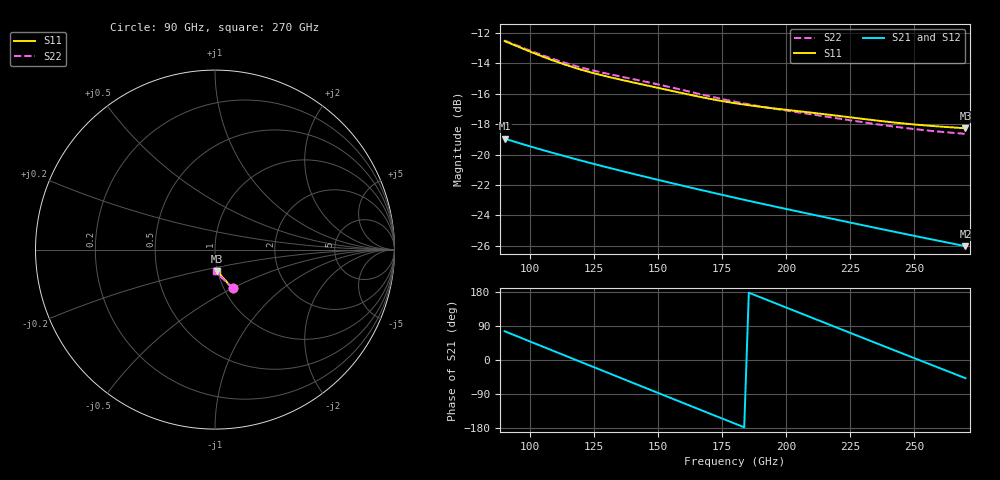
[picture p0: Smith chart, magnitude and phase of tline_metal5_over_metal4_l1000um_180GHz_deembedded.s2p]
! Created with skrf 2.2.0 (http://scikit-rf.org).
# GHz S DB R 50.0
! Port[1] = P1
! Port[2] = P2
!freq dBS11 angS11 dBS21 angS21 dBS12 angS12 dBS22 angS22
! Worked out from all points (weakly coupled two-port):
!   101 points, 90 GHz to 270 GHz, reference 50 ohm
!   highest |S21| = -18.95 dB at 90 GHz (marker M1); lowest = -26.0 dB at 270 GHz (marker M2)
!   lowest |S11| = -18.3 dB at 270 GHz (marker M3), VSWR 1.28, Z = 49.5 - j12.2 ohm
!   |S11| at or under -10 dB: start of sweep to end of sweep
!   |S22| runs from -18.6 to -12.5 dB; largest |S21 - S12| = 8.8e-14
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90  -12.53 -65.1  -18.95 75.9  -18.95 75.9  -12.49 -64.9
99  -13.16 -67.3  -19.42 51.4  -19.42 51.4  -13.10 -67.0
106.2  -13.64 -68.6  -19.77 31.8  -19.77 31.8  -13.55 -68.3
113.4  -14.07 -69.5  -20.10 12.2  -20.10 12.2  -13.96 -69.3
120.6  -14.45 -70.3  -20.43 -7.4  -20.43 -7.4  -14.30 -70.2
127.8  -14.77 -71.0  -20.75 -26.9  -20.75 -26.9  -14.59 -71.1
136.8  -15.13 -72.1  -21.13 -51.3  -21.13 -51.3  -14.92 -72.4
144  -15.39 -73.0  -21.43 -70.8  -21.43 -70.8  -15.17 -73.7
151.2  -15.66 -74.0  -21.72 -90.3  -21.72 -90.3  -15.43 -75.0
158.4  -15.92 -74.9  -22.01 -109.7  -22.01 -109.7  -15.71 -76.2
167.4  -16.24 -75.8  -22.36 -134.0  -22.36 -134.0  -16.06 -77.6
180  -16.62 -76.8  -22.85 -167.9  -22.85 -167.9  -16.52 -79.0
187.2  -16.80 -77.3  -23.12 172.8  -23.12 172.8  -16.75 -79.7
194.4  -16.95 -78.0  -23.38 153.4  -23.38 153.4  -16.96 -80.4
203.4  -17.12 -78.9  -23.71 129.3  -23.71 129.3  -17.19 -81.2
210.6  -17.26 -79.7  -23.97 110.1  -23.97 110.1  -17.38 -82.0
217.8  -17.40 -80.6  -24.22 90.8  -24.22 90.8  -17.56 -82.7
225  -17.55 -81.4  -24.48 71.6  -24.48 71.6  -17.74 -83.4
234  -17.74 -82.3  -24.80 47.6  -24.80 47.6  -17.97 -84.1
241.2  -17.87 -82.9  -25.05 28.4  -25.05 28.4  -18.14 -84.6
255.6  -18.10 -84.1  -25.55 -9.8  -25.55 -9.8  -18.43 -85.3
270  -18.27 -85.3  -26.03 -48.0  -26.03 -48.0  -18.64 -86.0
